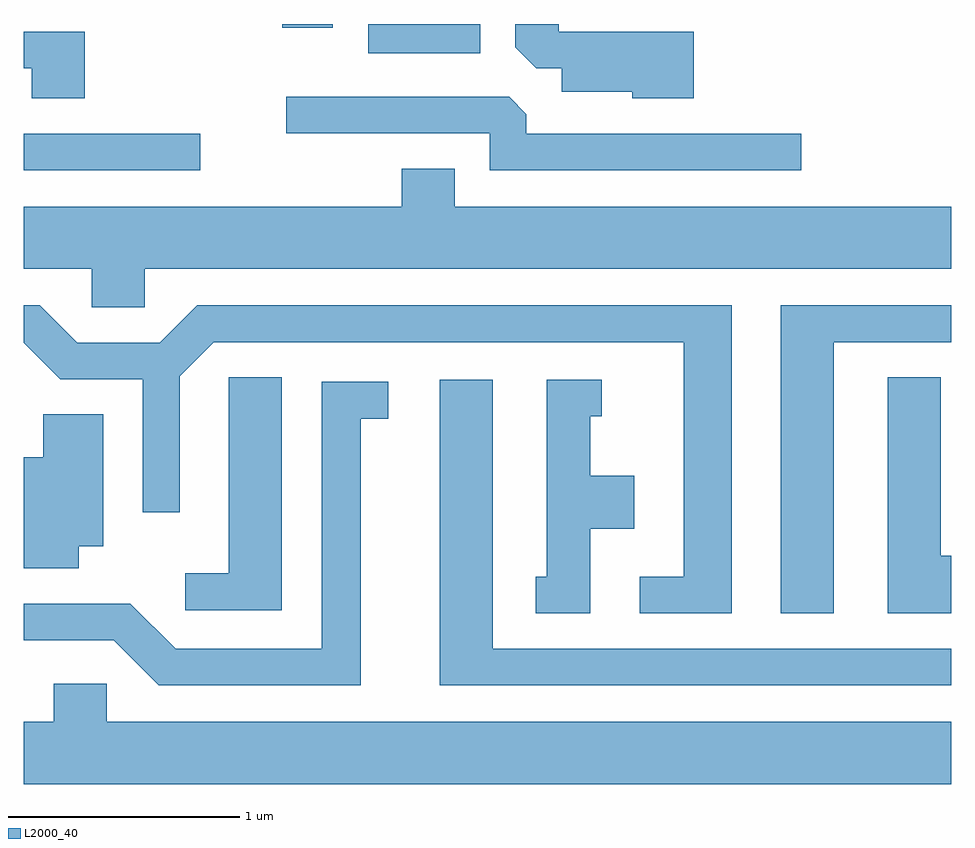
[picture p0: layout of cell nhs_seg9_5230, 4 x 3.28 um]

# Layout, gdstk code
import gdstk
lib = gdstk.Library(unit=1e-6, precision=1e-09)
def R(c, l, rs):  # rectangles x0, y0, x1, y1
    for r in rs: c.add(gdstk.rectangle(r[:2], r[2:], *l))
def P(c, l, *ps):  # polygons
    for p in ps: c.add(gdstk.Polygon(p, *l))
L2000_40 = (2000, 40)

nhs_seg9_5230 = lib.new_cell('nhs_seg9_5230')
R(nhs_seg9_5230, L2000_40, [(339.611,1987.801,340.373,1987.959), (341.096,1988.306,341.579,1988.432), (340.726,1988.416,340.944,1988.432)])
P(nhs_seg9_5230, L2000_40, [(342.499,1988.399),(341.919,1988.399),(341.919,1988.432),(341.731,1988.432),(341.731,1988.332),(341.822,1988.241),(341.931,1988.241),(341.931,1988.141),(342.236,1988.141),(342.236,1988.111),(342.499,1988.111)],
  [(339.874,1988.399),(339.611,1988.399),(339.611,1988.241),(339.646,1988.241),(339.646,1988.111),(339.874,1988.111)],
  [(342.963,1987.959),(341.779,1987.959),(341.779,1988.044),(341.704,1988.119),(340.743,1988.119),(340.743,1987.961),(341.621,1987.961),(341.621,1987.801),(342.963,1987.801)],
  [(340.134,1987.376),(343.611,1987.376),(343.611,1987.644),(341.469,1987.644),(341.469,1987.809),(341.241,1987.809),(341.241,1987.644),(339.611,1987.644),(339.611,1987.376),(339.906,1987.376),(339.906,1987.211),(340.134,1987.211)],
  [(343.104,1987.061),(343.611,1987.061),(343.611,1987.219),(342.876,1987.219),(342.876,1985.891),(343.104,1985.891)],
  [(342.664,1987.219),(340.359,1987.219),(340.199,1987.059),(339.842,1987.059),(339.682,1987.219),(339.611,1987.219),(339.611,1987.059),(339.769,1986.901),(340.126,1986.901),(340.126,1986.328),(340.284,1986.328),(340.284,1986.914),(340.432,1987.061),(342.456,1987.061),(342.456,1986.049),(342.268,1986.049),(342.268,1985.891),(342.664,1985.891)],
  [(343.611,1986.139),(343.564,1986.139),(343.564,1986.909),(343.336,1986.909),(343.336,1985.891),(343.611,1985.891)],
  [(340.724,1986.909),(340.496,1986.909),(340.496,1986.064),(340.308,1986.064),(340.308,1985.906),(340.724,1985.906)],
  [(343.611,1985.739),(341.634,1985.739),(341.634,1986.899),(341.406,1986.899),(341.406,1985.581),(343.611,1985.581)],
  [(342.054,1986.256),(342.244,1986.256),(342.244,1986.484),(342.054,1986.484),(342.054,1986.741),(342.103,1986.741),(342.103,1986.899),(341.866,1986.899),(341.866,1986.049),(341.818,1986.049),(341.818,1985.891),(342.054,1985.891)],
  [(341.064,1986.731),(341.183,1986.731),(341.183,1986.889),(340.896,1986.889),(340.896,1985.739),(340.267,1985.739),(340.072,1985.934),(339.611,1985.934),(339.611,1985.776),(339.999,1985.776),(340.194,1985.581),(341.064,1985.581)],
  [(339.849,1986.181),(339.954,1986.181),(339.954,1986.749),(339.696,1986.749),(339.696,1986.564),(339.611,1986.564),(339.611,1986.086),(339.849,1986.086)],
  [(343.611,1985.424),(339.969,1985.424),(339.969,1985.589),(339.741,1985.589),(339.741,1985.424),(339.611,1985.424),(339.611,1985.156),(343.611,1985.156)])

lib.write_gds('nhs_seg9_5230.gds')
